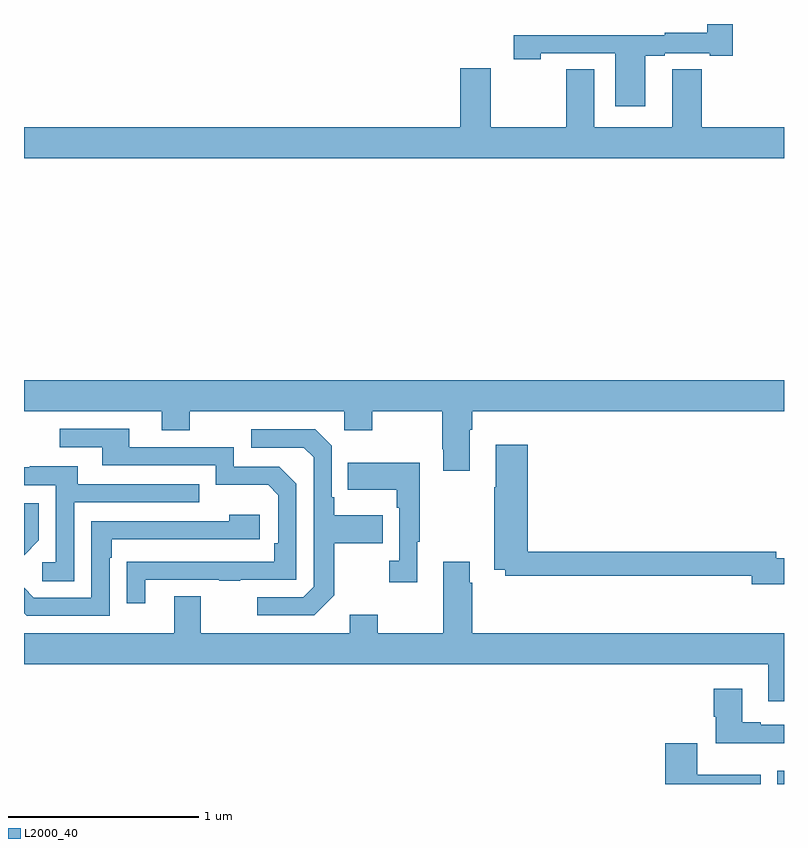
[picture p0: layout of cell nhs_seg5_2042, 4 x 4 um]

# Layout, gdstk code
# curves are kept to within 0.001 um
import gdstk
lib = gdstk.Library(unit=1e-6, precision=1e-09)
def R(c, l, rs):  # rectangles x0, y0, x1, y1
    for r in rs: c.add(gdstk.rectangle(r[:2], r[2:], *l))
def P(c, l, *ps):  # polygons
    for p in ps: c.add(gdstk.Polygon(p, *l))
L2000_40 = (2000, 40)

nhs_seg5_2042 = lib.new_cell('nhs_seg5_2042')
R(nhs_seg5_2042, L2000_40, [(234.965,854.799,235,854.869)])
P(nhs_seg5_2042, L2000_40, [(234.271,858.633),(234.373,858.633),(234.373,858.645),(234.608,858.645),(234.608,858.633),(234.731,858.633),(234.731,858.799),(234.595,858.799),(234.595,858.754),(234.373,858.754),(234.373,858.741),(233.577,858.741),(233.577,858.613),(233.721,858.613),(233.721,858.645),(234.113,858.645),(234.113,858.366),(234.271,858.366)],
  [(235,858.256),(234.566,858.256),(234.566,858.56),(234.413,858.56),(234.413,858.256),(234.001,858.256),(234.001,858.56),(233.854,858.56),(233.854,858.256),(233.457,858.256),(233.457,858.565),(233.297,858.565),(233.297,858.256),(231,858.256),(231,858.092),(235,858.092)],
  [(233.347,856.664),(233.36,856.664),(233.36,856.76),(235,856.76),(235,856.924),(231,856.924),(231,856.76),(231.725,856.76),(231.725,856.661),(231.873,856.661),(231.873,856.76),(232.686,856.76),(232.686,856.661),(232.833,856.661),(232.833,856.76),(233.2,856.76),(233.2,856.561),(233.207,856.561),(233.207,856.449),(233.347,856.449)],
  [(231.637,855.873),(232.027,855.873),(232.027,855.868),(232.139,855.868),(232.139,855.873),(232.434,855.873),(232.434,856.38),(232.344,856.47),(232.104,856.47),(232.104,856.572),(231.553,856.572),(231.553,856.668),(231.189,856.668),(231.189,856.572),(231.413,856.572),(231.413,856.476),(232.008,856.476),(232.008,856.373),(232.285,856.373),(232.338,856.32),(232.338,856.066),(232.318,856.066),(232.318,855.969),(231.541,855.968),(231.541,855.75),(231.637,855.75)],
  [(232.633,855.793),(232.633,856.066),(232.889,856.066),(232.889,856.213),(232.633,856.213),(232.633,856.309),(232.62,856.309),(232.62,856.578),(232.533,856.665),(232.197,856.665),(232.197,856.569),(232.473,856.569),(232.524,856.518),(232.524,855.837),(232.47,855.783),(232.227,855.783),(232.227,855.687),(232.527,855.687)],
  [(235,855.986),(234.958,855.986),(234.958,856.022),(233.651,856.022),(233.651,856.585),(233.483,856.585),(233.483,856.361),(233.476,856.361),(233.476,855.926),(233.532,855.926),(233.532,855.894),(234.83,855.894),(234.83,855.851),(235,855.851)],
  [(233.071,856.073),(233.083,856.073),(233.083,856.489),(232.705,856.489),(232.705,856.349),(232.962,856.349),(232.962,856.253),(232.974,856.253),(232.974,855.974),(232.923,855.974),(232.923,855.861),(233.071,855.861)],
  [(231.264,856.281),(231.923,856.281),(231.923,856.377),(231.283,856.377),(231.283,856.471),(231.029,856.471),(231.029,856.467),(231,856.467),(231,856.371),(231.168,856.371),(231.168,855.966),(231.096,855.966),(231.096,855.865),(231.264,855.865)],
  [(231.078,856.082),(231.078,856.276),(231,856.276),(231,856.004)],
  [(231.45,855.989),(231.463,855.989),(231.463,856.086),(232.24,856.086),(232.24,856.216),(232.079,856.216),(232.079,856.182),(231.354,856.182),(231.354,855.78),(231.051,855.78),(231,855.831),(231,855.699),(231.015,855.684),(231.45,855.684)],
  [(235,855.592),(233.36,855.592),(233.36,855.857),(233.347,855.857),(233.347,855.97),(233.207,855.97),(233.207,855.592),(232.863,855.592),(232.863,855.691),(232.715,855.691),(232.715,855.592),(231.931,855.592),(231.931,855.787),(231.791,855.787),(231.791,855.592),(231,855.592),(231,855.428),(234.917,855.428),(234.917,855.234),(235,855.234)],
  [(235,855.111),(234.877,855.111),(234.877,855.124),(234.781,855.124),(234.781,855.301),(234.629,855.301),(234.629,855.153),(234.641,855.153),(234.641,855.014),(235,855.014)],
  [(234.877,854.848),(234.544,854.848),(234.544,855.013),(234.374,855.013),(234.374,854.799),(234.877,854.799)])

lib.write_gds('nhs_seg5_2042.gds')
